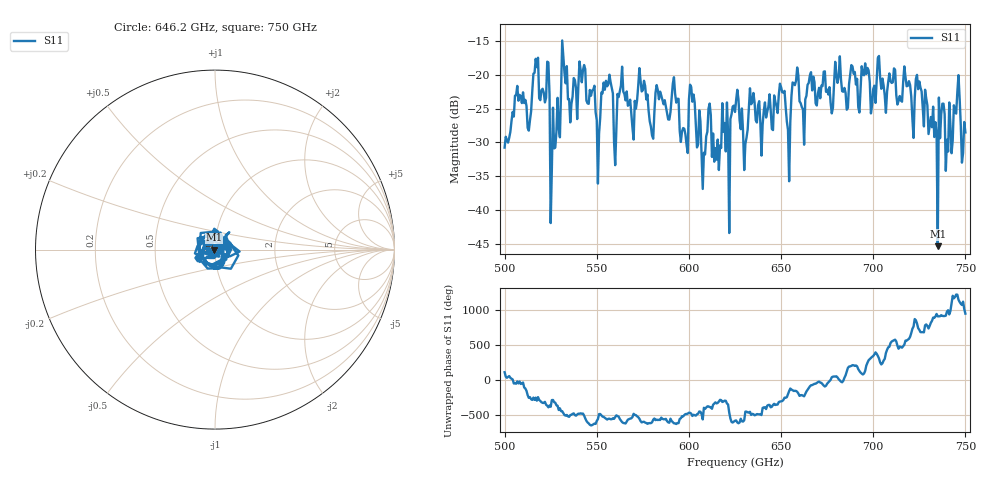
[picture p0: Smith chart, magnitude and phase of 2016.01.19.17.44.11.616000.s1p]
!Created with skrf (http://scikit-rf.org).
# GHz S RI R 50.0
!freq ReS11 ImS11
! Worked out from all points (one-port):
!   401 points, 500 GHz to 750 GHz, reference 50 ohm
!   lowest |S11| = -45.4 dB at 735 GHz (marker M1), VSWR 1.01, Z = 49.5 - j0.126 ohm
!   |S11| at or under -10 dB: start of sweep to end of sweep
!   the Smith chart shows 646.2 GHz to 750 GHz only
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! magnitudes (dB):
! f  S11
! 500 GHz  -30.8
! 506.9 GHz  -21.6
! 513.8 GHz  -26.7
! 516.9 GHz  -17.6
! 523.1 GHz  -18.0
! 526.2 GHz  -24.8
! 531.2 GHz  -14.9
! 542.5 GHz  -19.3
! 550.6 GHz  -36.1
! 553.8 GHz  -21.1
! 560.6 GHz  -28.2
! 562.5 GHz  -22.4
! 593.8 GHz  -23.5
! 598.1 GHz  -28.8
! 601.9 GHz  -24.0
! 608.1 GHz  -31.5
! 621.2 GHz  -28.7
! 625 GHz  -25.5
! 630.6 GHz  -30.2
! 634.4 GHz  -24.0
! 650.6 GHz  -22.5
! 653.8 GHz  -28.1
! 656.2 GHz  -21.1
! 687.5 GHz  -19.9
! 718.8 GHz  -21.6
! 735 GHz  -45.4
! 745.6 GHz  -22.5
! 750 GHz  -28.5
